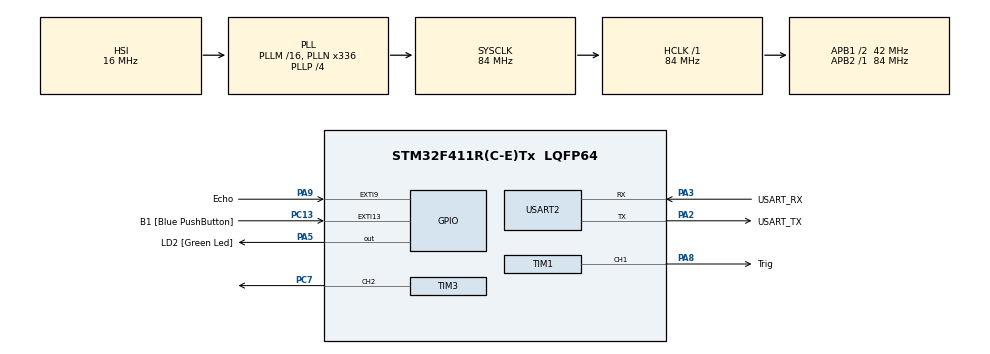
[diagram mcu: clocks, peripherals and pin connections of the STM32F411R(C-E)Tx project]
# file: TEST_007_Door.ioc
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Mcu.Family=STM32F4
Mcu.Name=STM32F411R(C-E)Tx
Mcu.Package=LQFP64
NVIC.EXTI9_5_IRQn=true\:0\:0\:false\:false\:true\:true\:true\:true
NVIC.PriorityGroup=NVIC_PRIORITYGROUP_0
PA13.GPIO_Label=TMS
PA13.Mode=Serial_Wire
PA13.Signal=SYS_JTMS-SWDIO
PA14.GPIO_Label=TCK
PA14.Mode=Serial_Wire
PA14.Signal=SYS_JTCK-SWCLK
PA2.GPIO_Label=USART_TX
PA2.Mode=Asynchronous
PA2.Signal=USART2_TX
PA3.GPIO_Label=USART_RX
PA3.Mode=Asynchronous
PA3.Signal=USART2_RX
PA5.GPIO_Label=LD2 [Green Led]
PA5.Signal=GPIO_Output
PA8.GPIO_Label=Trig
PA8.Signal=S_TIM1_CH1
PA9.GPIO_Label=Echo
PA9.GPIO_ModeDefaultEXTI=GPIO_MODE_IT_RISING_FALLING
PA9.Signal=GPXTI9
PB3.GPIO_Label=SWO
PB3.Signal=SYS_JTDO-SWO
PC13-ANTI_TAMP.GPIO_Label=B1 [Blue PushButton]
PC13-ANTI_TAMP.GPIO_ModeDefaultEXTI=GPIO_MODE_IT_FALLING
PC13-ANTI_TAMP.Signal=GPXTI13
PC14-OSC32_IN.Mode=LSE-External-Oscillator
PC14-OSC32_IN.Signal=RCC_OSC32_IN
PC15-OSC32_OUT.Mode=LSE-External-Oscillator
PC15-OSC32_OUT.Signal=RCC_OSC32_OUT
PC7.Signal=S_TIM3_CH2
PH0\ -\ OSC_IN.Mode=HSE-External-Clock-Source
PH0\ -\ OSC_IN.Signal=RCC_OSC_IN
PH1\ -\ OSC_OUT.Mode=HSE-External-Clock-Source
PH1\ -\ OSC_OUT.Signal=RCC_OSC_OUT
ProjectManager.HeapSize=0x200
ProjectManager.StackSize=0x400
ProjectManager.TargetToolchain=STM32CubeIDE
RCC.48MHZClocksFreq_Value=84000000
RCC.AHBFreq_Value=84000000
RCC.APB1CLKDivider=RCC_HCLK_DIV2
RCC.APB1Freq_Value=42000000
RCC.APB1TimFreq_Value=84000000
RCC.APB2Freq_Value=84000000
RCC.APB2TimFreq_Value=84000000
RCC.CortexFreq_Value=84000000
RCC.FLatency-AdvancedSettings=FLASH_LATENCY_2
RCC.HCLKFreq_Value=84000000
RCC.HSE_VALUE=8000000
RCC.HSI_VALUE=16000000
RCC.PLLN=336
RCC.PLLP=RCC_PLLP_DIV4
RCC.SYSCLKFreq_VALUE=84000000
RCC.SYSCLKSource=RCC_SYSCLKSOURCE_PLLCLK
RCC.VCOOutputFreq_Value=336000000
SH.S_TIM1_CH1.0=TIM1_CH1,PWM Generation1 CH1
SH.S_TIM3_CH2.0=TIM3_CH2,PWM Generation2 CH2
TIM1.Channel-PWM\ Generation1\ CH1=TIM_CHANNEL_1
TIM1.Period=2000-1
TIM1.Prescaler=2100-1
TIM1.Pulse-PWM\ Generation1\ CH1=10
TIM2.Period=100000-1
TIM2.Prescaler=84-1
TIM3.Channel-PWM\ Generation2\ CH2=TIM_CHANNEL_2
TIM3.Period=1000-1
TIM3.Prescaler=1680-1
USART2.VirtualMode=VM_ASYNC
VP_TIM1_VS_ClockSourceINT.Mode=Internal
VP_TIM2_VS_ClockSourceINT.Mode=Internal
VP_TIM3_VS_ClockSourceINT.Mode=Internal
board=NUCLEO-F411RE

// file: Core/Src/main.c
/* USER CODE BEGIN Header */
/**
  ******************************************************************************
  * @file           : main.c
  * @brief          : Main program body
  ******************************************************************************
  * @attention
  *
  * Copyright (c) 2025 STMicroelectronics.
  * All rights reserved.
  *
  * This software is licensed under terms that can be found in the LICENSE file
  * in the root directory of this software component.
  * If no LICENSE file comes with this software, it is provided AS-IS.
  *
  ******************************************************************************
  */
/* USER CODE END Header */
#include "main.h"

TIM_HandleTypeDef htim1;
TIM_HandleTypeDef htim2;
TIM_HandleTypeDef htim3;

UART_HandleTypeDef huart2;

void SystemClock_Config(void);
static void MX_GPIO_Init(void);
static void MX_USART2_UART_Init(void);
static void MX_TIM2_Init(void);
static void MX_TIM3_Init(void);
static void MX_TIM1_Init(void);

/* USER CODE BEGIN 0 */
int t1 =0 , t2 = 0;
double dist = 0.0;
void HAL_GPIO_EXTI_Callback(uint16_t GPIO_Pin)
{

	if(GPIO_Pin == Echo_Pin)
	{
		if(HAL_GPIO_ReadPin(Echo_GPIO_Port, Echo_Pin) == 1)	//rising edge
		{
			t1= htim2.Instance->CNT;
		}
		else	//falling edge
		{
			//t2 = htim2.Instance->CNT;
			//dist = (t2 - t1) * 0.17;
			dist = (htim2.Instance->CNT - t1)* 0.017;
		}
	}
}
void HAL_TIM_PeriodElapsedCallback(TIM_HandleTypeDef *htim)
{
	Trigger();

}

/* USER CODE END 0 */

int main(void)
{

  /* MCU Configuration--------------------------------------------------------*/

  /* Reset of all peripherals, Initializes the Flash interface and the Systick. */
  HAL_Init();

  /* Configure the system clock */
  SystemClock_Config();

  /* Initialize all configured peripherals */
  MX_GPIO_Init();
  MX_USART2_UART_Init();
  MX_TIM2_Init();
  MX_TIM3_Init();
  MX_TIM1_Init();
  /* USER CODE BEGIN 2 */

  ProgramStart("Motor Control - STATE");
  HAL_TIM_Base_Start(&htim2);
  HAL_TIM_PWM_Start(&htim1, TIM_CHANNEL_1);
  HAL_TIM_PWM_Start(&htim3, TIM_CHANNEL_2);
  int st = 0;
  /* USER CODE END 2 */

  /* Infinite loop */
  /* USER CODE BEGIN WHILE */
  while (1)
  {
	  	  //Trigger();
		  printf("Distance : %f\r\n", dist);
		  if(dist > 10)
			 {
			   htim3.Instance->CCR2 = 25;
			        //if(htim3.Instance->CCR2 < 2000) st = 0;
			 }
		  else
			 {
			  htim3.Instance->CCR2 = 125;
			        //if(htim3.Instance->CCR2 > 4000) st = 1;
			 }
		  HAL_Delay(50);

    /* USER CODE END WHILE */

  }
}

void SystemClock_Config(void)
{
  RCC_OscInitTypeDef RCC_OscInitStruct = {0};
  RCC_ClkInitTypeDef RCC_ClkInitStruct = {0};

  /** Configure the main internal regulator output voltage
  */
  __HAL_RCC_PWR_CLK_ENABLE();
  __HAL_PWR_VOLTAGESCALING_CONFIG(PWR_REGULATOR_VOLTAGE_SCALE1);

  /** Initializes the RCC Oscillators according to the specified parameters
  * in the RCC_OscInitTypeDef structure.
  */
  RCC_OscInitStruct.OscillatorType = RCC_OSCILLATORTYPE_HSI;
  RCC_OscInitStruct.HSIState = RCC_HSI_ON;
  RCC_OscInitStruct.HSICalibrationValue = RCC_HSICALIBRATION_DEFAULT;
  RCC_OscInitStruct.PLL.PLLState = RCC_PLL_ON;
  RCC_OscInitStruct.PLL.PLLSource = RCC_PLLSOURCE_HSI;
  RCC_OscInitStruct.PLL.PLLM = 16;
  RCC_OscInitStruct.PLL.PLLN = 336;
  RCC_OscInitStruct.PLL.PLLP = RCC_PLLP_DIV4;
  RCC_OscInitStruct.PLL.PLLQ = 4;
  if (HAL_RCC_OscConfig(&RCC_OscInitStruct) != HAL_OK)
  {
    Error_Handler();
  }

  /** Initializes the CPU, AHB and APB buses clocks
  */
  RCC_ClkInitStruct.ClockType = RCC_CLOCKTYPE_HCLK|RCC_CLOCKTYPE_SYSCLK
                              |RCC_CLOCKTYPE_PCLK1|RCC_CLOCKTYPE_PCLK2;
  RCC_ClkInitStruct.SYSCLKSource = RCC_SYSCLKSOURCE_PLLCLK;
  RCC_ClkInitStruct.AHBCLKDivider = RCC_SYSCLK_DIV1;
  RCC_ClkInitStruct.APB1CLKDivider = RCC_HCLK_DIV2;
  RCC_ClkInitStruct.APB2CLKDivider = RCC_HCLK_DIV1;

  if (HAL_RCC_ClockConfig(&RCC_ClkInitStruct, FLASH_LATENCY_2) != HAL_OK)
  {
    Error_Handler();
  }
}

static void MX_TIM1_Init(void)
{

  TIM_ClockConfigTypeDef sClockSourceConfig = {0};
  TIM_MasterConfigTypeDef sMasterConfig = {0};
  TIM_OC_InitTypeDef sConfigOC = {0};
  TIM_BreakDeadTimeConfigTypeDef sBreakDeadTimeConfig = {0};

  htim1.Instance = TIM1;
  htim1.Init.Prescaler = 2100-1;
  htim1.Init.CounterMode = TIM_COUNTERMODE_UP;
  htim1.Init.Period = 2000-1;
  htim1.Init.ClockDivision = TIM_CLOCKDIVISION_DIV1;
  htim1.Init.RepetitionCounter = 0;
  htim1.Init.AutoReloadPreload = TIM_AUTORELOAD_PRELOAD_DISABLE;
  if (HAL_TIM_Base_Init(&htim1) != HAL_OK)
  {
    Error_Handler();
  }
  sClockSourceConfig.ClockSource = TIM_CLOCKSOURCE_INTERNAL;
  if (HAL_TIM_ConfigClockSource(&htim1, &sClockSourceConfig) != HAL_OK)
  {
    Error_Handler();
  }
  if (HAL_TIM_PWM_Init(&htim1) != HAL_OK)
  {
    Error_Handler();
  }
  sMasterConfig.MasterOutputTrigger = TIM_TRGO_RESET;
  sMasterConfig.MasterSlaveMode = TIM_MASTERSLAVEMODE_DISABLE;
  if (HAL_TIMEx_MasterConfigSynchronization(&htim1, &sMasterConfig) != HAL_OK)
  {
    Error_Handler();
  }
  sConfigOC.OCMode = TIM_OCMODE_PWM1;
  sConfigOC.Pulse = 10;
  sConfigOC.OCPolarity = TIM_OCPOLARITY_HIGH;
  sConfigOC.OCNPolarity = TIM_OCNPOLARITY_HIGH;
  sConfigOC.OCFastMode = TIM_OCFAST_DISABLE;
  sConfigOC.OCIdleState = TIM_OCIDLESTATE_RESET;
  sConfigOC.OCNIdleState = TIM_OCNIDLESTATE_RESET;
  if (HAL_TIM_PWM_ConfigChannel(&htim1, &sConfigOC, TIM_CHANNEL_1) != HAL_OK)
  {
    Error_Handler();
  }
  sBreakDeadTimeConfig.OffStateRunMode = TIM_OSSR_DISABLE;
  sBreakDeadTimeConfig.OffStateIDLEMode = TIM_OSSI_DISABLE;
  sBreakDeadTimeConfig.LockLevel = TIM_LOCKLEVEL_OFF;
  sBreakDeadTimeConfig.DeadTime = 0;
  sBreakDeadTimeConfig.BreakState = TIM_BREAK_DISABLE;
  sBreakDeadTimeConfig.BreakPolarity = TIM_BREAKPOLARITY_HIGH;
  sBreakDeadTimeConfig.AutomaticOutput = TIM_AUTOMATICOUTPUT_DISABLE;
  if (HAL_TIMEx_ConfigBreakDeadTime(&htim1, &sBreakDeadTimeConfig) != HAL_OK)
  {
    Error_Handler();
  }
  HAL_TIM_MspPostInit(&htim1);

}

static void MX_TIM2_Init(void)
{

  TIM_ClockConfigTypeDef sClockSourceConfig = {0};
  TIM_MasterConfigTypeDef sMasterConfig = {0};

  htim2.Instance = TIM2;
  htim2.Init.Prescaler = 84-1;
  htim2.Init.CounterMode = TIM_COUNTERMODE_UP;
  htim2.Init.Period = 100000-1;
  htim2.Init.ClockDivision = TIM_CLOCKDIVISION_DIV1;
  htim2.Init.AutoReloadPreload = TIM_AUTORELOAD_PRELOAD_DISABLE;
  if (HAL_TIM_Base_Init(&htim2) != HAL_OK)
  {
    Error_Handler();
  }
  sClockSourceConfig.ClockSource = TIM_CLOCKSOURCE_INTERNAL;
  if (HAL_TIM_ConfigClockSource(&htim2, &sClockSourceConfig) != HAL_OK)
  {
    Error_Handler();
  }
  sMasterConfig.MasterOutputTrigger = TIM_TRGO_RESET;
  sMasterConfig.MasterSlaveMode = TIM_MASTERSLAVEMODE_DISABLE;
  if (HAL_TIMEx_MasterConfigSynchronization(&htim2, &sMasterConfig) != HAL_OK)
  {
    Error_Handler();
  }

}

static void MX_TIM3_Init(void)
{

  TIM_ClockConfigTypeDef sClockSourceConfig = {0};
  TIM_MasterConfigTypeDef sMasterConfig = {0};
  TIM_OC_InitTypeDef sConfigOC = {0};

  htim3.Instance = TIM3;
  htim3.Init.Prescaler = 1680-1;
  htim3.Init.CounterMode = TIM_COUNTERMODE_UP;
  htim3.Init.Period = 1000-1;
  htim3.Init.ClockDivision = TIM_CLOCKDIVISION_DIV1;
  htim3.Init.AutoReloadPreload = TIM_AUTORELOAD_PRELOAD_DISABLE;
  if (HAL_TIM_Base_Init(&htim3) != HAL_OK)
  {
    Error_Handler();
  }
  sClockSourceConfig.ClockSource = TIM_CLOCKSOURCE_INTERNAL;
  if (HAL_TIM_ConfigClockSource(&htim3, &sClockSourceConfig) != HAL_OK)
  {
    Error_Handler();
  }
  if (HAL_TIM_PWM_Init(&htim3) != HAL_OK)
  {
    Error_Handler();
  }
  sMasterConfig.MasterOutputTrigger = TIM_TRGO_RESET;
  sMasterConfig.MasterSlaveMode = TIM_MASTERSLAVEMODE_DISABLE;
  if (HAL_TIMEx_MasterConfigSynchronization(&htim3, &sMasterConfig) != HAL_OK)
  {
    Error_Handler();
  }
  sConfigOC.OCMode = TIM_OCMODE_PWM1;
  sConfigOC.Pulse = 0;
  sConfigOC.OCPolarity = TIM_OCPOLARITY_HIGH;
  sConfigOC.OCFastMode = TIM_OCFAST_DISABLE;
  if (HAL_TIM_PWM_ConfigChannel(&htim3, &sConfigOC, TIM_CHANNEL_2) != HAL_OK)
  {
    Error_Handler();
  }
  HAL_TIM_MspPostInit(&htim3);

}

static void MX_USART2_UART_Init(void)
{

  huart2.Instance = USART2;
  huart2.Init.BaudRate = 115200;
  huart2.Init.WordLength = UART_WORDLENGTH_8B;
  huart2.Init.StopBits = UART_STOPBITS_1;
  huart2.Init.Parity = UART_PARITY_NONE;
  huart2.Init.Mode = UART_MODE_TX_RX;
  huart2.Init.HwFlowCtl = UART_HWCONTROL_NONE;
  huart2.Init.OverSampling = UART_OVERSAMPLING_16;
  if (HAL_UART_Init(&huart2) != HAL_OK)
  {
    Error_Handler();
  }

}

static void MX_GPIO_Init(void)
{
  GPIO_InitTypeDef GPIO_InitStruct = {0};

  /* GPIO Ports Clock Enable */
  __HAL_RCC_GPIOC_CLK_ENABLE();
  __HAL_RCC_GPIOH_CLK_ENABLE();
  __HAL_RCC_GPIOA_CLK_ENABLE();
  __HAL_RCC_GPIOB_CLK_ENABLE();

  /*Configure GPIO pin Output Level */
  HAL_GPIO_WritePin(LD2_GPIO_Port, LD2_Pin, GPIO_PIN_RESET);

  /*Configure GPIO pin : B1_Pin */
  GPIO_InitStruct.Pin = B1_Pin;
  GPIO_InitStruct.Mode = GPIO_MODE_IT_FALLING;
  GPIO_InitStruct.Pull = GPIO_NOPULL;
  HAL_GPIO_Init(B1_GPIO_Port, &GPIO_InitStruct);

  /*Configure GPIO pin : LD2_Pin */
  GPIO_InitStruct.Pin = LD2_Pin;
  GPIO_InitStruct.Mode = GPIO_MODE_OUTPUT_PP;
  GPIO_InitStruct.Pull = GPIO_NOPULL;
  GPIO_InitStruct.Speed = GPIO_SPEED_FREQ_LOW;
  HAL_GPIO_Init(LD2_GPIO_Port, &GPIO_InitStruct);

  /*Configure GPIO pin : Echo_Pin */
  GPIO_InitStruct.Pin = Echo_Pin;
  GPIO_InitStruct.Mode = GPIO_MODE_IT_RISING_FALLING;
  GPIO_InitStruct.Pull = GPIO_NOPULL;
  HAL_GPIO_Init(Echo_GPIO_Port, &GPIO_InitStruct);

  /* EXTI interrupt init*/
  HAL_NVIC_SetPriority(EXTI9_5_IRQn, 0, 0);
  HAL_NVIC_EnableIRQ(EXTI9_5_IRQn);

}

void Error_Handler(void)
{
  __disable_irq();
  while (1)
  {
  }
}
